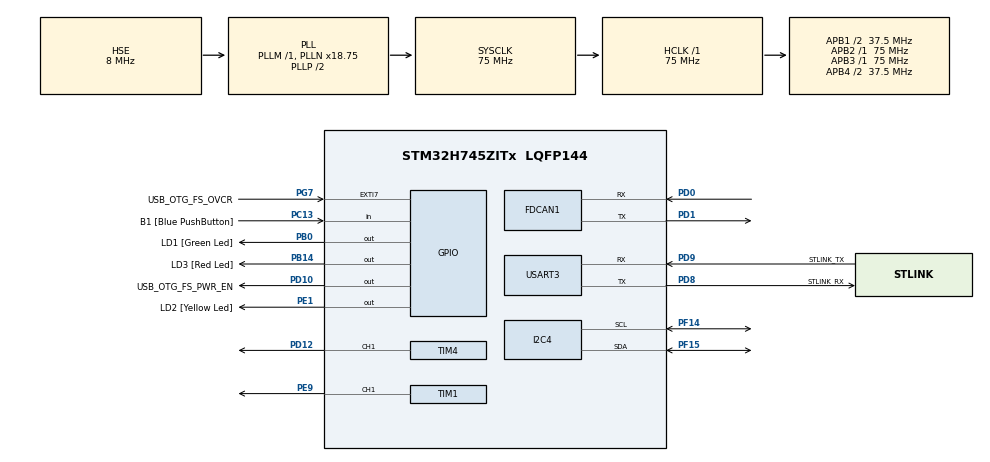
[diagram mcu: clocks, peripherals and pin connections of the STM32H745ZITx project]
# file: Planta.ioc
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CortexM4.IPs=FATFS_M4\:I,FREERTOS_M4\:I,IWDG2\:I,RCC,WWDG2\:I,DMA,BDMA,MDMA,NVIC2\:I,DEBUG,USB_DEVICE_M4\:I,USB_HOST_M4\:I,PDM2PCM_M4\:I,PWR,RESMGR_UTILITY,SYS_M4\:I,CORTEX_M4\:I,OPENAMP_M4\:I,VREFBUF,GPIO
CortexM7.IPs=FATFS_M7\:I,FREERTOS_M7\:I,IWDG1\:I,RCC\:I,WWDG1\:I,DMA\:I,BDMA\:I,MDMA\:I,NVIC1\:I,SYS\:I,USART3\:I,CORTEX_M7\:I,DEBUG\:I,USB_DEVICE_M7\:I,USB_HOST_M7\:I,PDM2PCM_M7\:I,PWR\:I,RESMGR_UTILITY\:I,OPENAMP_M7\:I,VREFBUF\:I,GPIO\:I,I2C4\:I,TIM2\:I,TIM5\:I,TIM1\:I,TIM3\:I,FDCAN1\:I,TIM4\:I
CortexM7.Pins=PC13,PB0,PB14
FDCAN1.AutoRetransmission=ENABLE
FDCAN1.CalculateBaudRateNominal=250000
FDCAN1.CalculateTimeBitNominal=4000
FDCAN1.CalculateTimeQuantumNominal=100.0
FDCAN1.NominalPrescaler=5
FDCAN1.NominalSyncJumpWidth=8
FDCAN1.NominalTimeSeg1=0x1F
FDCAN1.NominalTimeSeg2=8
FDCAN1.ProtocolException=ENABLE
FDCAN1.RxFifo0ElmtsNbr=1
FDCAN1.StdFiltersNbr=1
FDCAN1.TransmitPause=ENABLE
FDCAN1.TxFifoQueueElmtsNbr=1
I2C4.AddressingMode=I2C_ADDRESSINGMODE_7BIT
I2C4.Timing=0x00909FCE
Mcu.Family=STM32H7
Mcu.Name=STM32H745ZITx
Mcu.Package=LQFP144
NVIC1.FDCAN1_IT0_IRQn=true\:0\:0\:false\:false\:true\:true\:true\:true
NVIC1.PriorityGroup=NVIC_PRIORITYGROUP_4
NVIC1.TIM2_IRQn=true\:0\:0\:false\:false\:true\:true\:true\:true
NVIC1.TIM3_IRQn=true\:0\:0\:false\:false\:true\:true\:true\:true
NVIC2.HSEM2_IRQn=true\:0\:0\:false\:false\:true\:true\:true\:true
NVIC2.PriorityGroup=NVIC_PRIORITYGROUP_4
PA1.PinAttribute=CortexM7
PA1.Signal=ETH_REF_CLK
PA11.PinAttribute=CortexM7
PA11.Signal=USB_OTG_FS_DM
PA12.PinAttribute=CortexM7
PA12.Signal=USB_OTG_FS_DP
PA2.PinAttribute=CortexM7
PA2.Signal=ETH_MDIO
PA7.PinAttribute=CortexM7
PA7.Signal=ETH_CRS_DV
PA8.PinAttribute=CortexM7
PA8.Signal=USB_OTG_FS_SOF
PA9.PinAttribute=CortexM7
PA9.Signal=USB_OTG_FS_VBUS
PB0.GPIO_Label=LD1 [Green Led]
PB0.GPIO_PuPd=GPIO_PULLDOWN
PB0.GPIO_Speed=GPIO_SPEED_FREQ_HIGH
PB0.PinAttribute=CortexM7
PB0.Signal=GPIO_Output
PB13.PinAttribute=CortexM7
PB13.Signal=ETH_TXD1
PB14.GPIO_Label=LD3 [Red Led]
PB14.GPIO_PuPd=GPIO_PULLDOWN
PB14.GPIO_Speed=GPIO_SPEED_FREQ_HIGH
PB14.PinAttribute=CortexM7
PB14.Signal=GPIO_Output
PC1.PinAttribute=CortexM7
PC1.Signal=ETH_MDC
PC13.GPIO_Label=B1 [Blue PushButton]
PC13.GPIO_PuPd=GPIO_PULLDOWN
PC13.PinAttribute=CortexM7
PC13.Signal=GPIO_Input
PC14-OSC32_IN\ (OSC32_IN).Mode=LSE-External-Oscillator
PC14-OSC32_IN\ (OSC32_IN).PinAttribute=CortexM7
PC14-OSC32_IN\ (OSC32_IN).Signal=RCC_OSC32_IN
PC15-OSC32_OUT\ (OSC32_OUT).Mode=LSE-External-Oscillator
PC15-OSC32_OUT\ (OSC32_OUT).PinAttribute=CortexM7
PC15-OSC32_OUT\ (OSC32_OUT).Signal=RCC_OSC32_OUT
PC4.PinAttribute=CortexM7
PC4.Signal=ETH_RXD0
PC5.PinAttribute=CortexM7
PC5.Signal=ETH_RXD1
PD0.Mode=FDCAN_Activate
PD0.PinAttribute=CortexM7
PD0.Signal=FDCAN1_RX
PD1.Mode=FDCAN_Activate
PD1.PinAttribute=CortexM7
PD1.Signal=FDCAN1_TX
PD10.GPIO_Label=USB_OTG_FS_PWR_EN
PD10.PinAttribute=Free
PD10.Signal=GPIO_Output
PD12.PinAttribute=CortexM7
PD12.Signal=S_TIM4_CH1
PD8.GPIO_Label=STLINK_RX
PD8.Mode=Asynchronous
PD8.PinAttribute=CortexM7
PD8.Signal=USART3_TX
PD9.GPIO_Label=STLINK_TX
PD9.Mode=Asynchronous
PD9.PinAttribute=CortexM7
PD9.Signal=USART3_RX
PE1.GPIO_Label=LD2 [Yellow Led]
PE1.GPIO_PuPd=GPIO_PULLDOWN
PE1.GPIO_Speed=GPIO_SPEED_FREQ_HIGH
PE1.PinAttribute=Free
PE1.PinState=GPIO_PIN_SET
PE1.Signal=GPIO_Output
PE9.PinAttribute=CortexM7
PE9.Signal=S_TIM1_CH1
PF14.Mode=I2C
PF14.PinAttribute=CortexM7
PF14.Signal=I2C4_SCL
PF15.Mode=I2C
PF15.PinAttribute=CortexM7
PF15.Signal=I2C4_SDA
PG11.PinAttribute=CortexM7
PG11.Signal=ETH_TX_EN
PG13.PinAttribute=CortexM7
PG13.Signal=ETH_TXD0
PG7.GPIO_Label=USB_OTG_FS_OVCR
PG7.PinAttribute=Free
PG7.Signal=GPXTI7
PH0-OSC_IN\ (PH0).Mode=HSE-External-Clock-Source
PH0-OSC_IN\ (PH0).PinAttribute=CortexM7
PH0-OSC_IN\ (PH0).Signal=RCC_OSC_IN
PH1-OSC_OUT\ (PH1).PinAttribute=CortexM7
PH1-OSC_OUT\ (PH1).Signal=RCC_OSC_OUT
ProjectManager.HeapSize=M4-0x200,M7-0x200
ProjectManager.StackSize=M4-0x400,M7-0x400
ProjectManager.TargetToolchain=STM32CubeIDE
RCC.ADCFreq_Value=16125000
RCC.APB1Freq_Value=37500000
RCC.APB2Freq_Value=75000000
RCC.APB3Freq_Value=75000000
RCC.APB4Freq_Value=37500000
RCC.CortexFreq_Value=75000000
RCC.D2PPRE1=RCC_APB1_DIV2
RCC.D3PPRE=RCC_APB4_DIV2
RCC.DIVM1=1
RCC.DIVM3=1
RCC.DIVN1=18
RCC.DIVN3=24
RCC.DIVQ1=3
RCC.DIVQ3=4
RCC.HCLKFreq_Value=75000000
RCC.HSE_VALUE=8000000
RCC.PLL2FRACN=0
RCC.PLL3FRACN=0
RCC.PLLFRACN=6144
RCC.PLLSourceVirtual=RCC_PLLSOURCE_HSE
RCC.SYSCLKFreq_VALUE=75000000
RCC.SYSCLKSource=RCC_SYSCLKSOURCE_PLLCLK
RCC.SupplySource=PWR_DIRECT_SMPS_SUPPLY
RCC.USBCLockSelection=RCC_USBCLKSOURCE_PLL3
RCC.USBFreq_Value=48000000
SH.S_TIM1_CH1.0=TIM1_CH1,PWM Generation1 CH1
SH.S_TIM4_CH1.0=TIM4_CH1,PWM Generation1 CH1
TIM1.Channel-PWM\ Generation1\ CH1=TIM_CHANNEL_1
TIM1.Period=100
TIM1.Prescaler=240 - 1
TIM2.Period=7813 - 1
TIM2.Prescaler=240 - 1
TIM3.Period=10000 - 1
TIM3.Prescaler=240 - 1
TIM4.Channel-PWM\ Generation1\ CH1=TIM_CHANNEL_1
TIM4.Period=1000-1
TIM4.Prescaler=1500
TIM4.Pulse-PWM\ Generation1\ CH1=1
TIM5.Prescaler=230
USART3.VirtualMode-Asynchronous=VM_ASYNC
VP_SYS_M4_VS_Systick.Mode=SysTick
VP_TIM1_VS_ClockSourceINT.Mode=Internal
VP_TIM2_VS_ClockSourceINT.Mode=Internal
VP_TIM3_VS_ClockSourceINT.Mode=Internal
VP_TIM4_VS_ClockSourceINT.Mode=Internal
VP_TIM5_VS_ClockSourceINT.Mode=Internal
board=NUCLEO-H745ZI-Q

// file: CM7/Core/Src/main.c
/* USER CODE BEGIN Header */
/**
  ******************************************************************************
  * @file           : main.c
  * @brief          : Main program body
  ******************************************************************************
  * @attention
  *
  * Copyright (c) 2022 STMicroelectronics.
  * All rights reserved.
  *
  * This software is licensed under terms that can be found in the LICENSE file
  * in the root directory of this software component.
  * If no LICENSE file comes with this software, it is provided AS-IS.
  *
  ******************************************************************************
  */
/* USER CODE END Header */
#include "main.h"

/* USER CODE BEGIN Includes */
#include "fft.h"		// Librería de transformada rápida de Fourier
#include "uart.h"		// Librería de funciones de transmisión UART
#include "mpu6050.h"	// Librería de funciones para el MPU6050
#include "mprls.h"		// Librería de funciones para el MPRLS
#include <stdio.h>
#include <stdlib.h>
#include <string.h>
#include <math.h>
#include <complex.h>
/* USER CODE END Includes */

/* USER CODE BEGIN PTD */
// Dirección del MPRLS
#define MT 128			// Muestras totales (128 Hz)

#define KP 0.344
#define KI 0.0112

/* USER CODE END PTD */

/* USER CODE BEGIN PD */

#ifndef HSEM_ID_0
#define HSEM_ID_0 (0U) /* HW semaphore 0*/
#endif
/* USER CODE END PD */

FDCAN_HandleTypeDef hfdcan1;

I2C_HandleTypeDef hi2c4;

TIM_HandleTypeDef htim1;
TIM_HandleTypeDef htim2;
TIM_HandleTypeDef htim3;
TIM_HandleTypeDef htim4;
TIM_HandleTypeDef htim5;

UART_HandleTypeDef huart3;

/* USER CODE BEGIN PV */
// Variables de muestreo MPU6050
int16_t nm = 0;											// Número de muestras
float muestras_x[MT],  muestras_y[MT], muestras_z[MT];	// Arreglos de muestras
float *gyr;												// Lectura del giroscopio

// Variables de muestreo MPRLS
float pressure;
uint8_t *press_raw;

unsigned timer_val; 									// Variable de comprobación de tiempo

float ts = 0.1, control, error, errorPrev = 0;
uint32_t pk, pkPrev;
float reference = 12.0;

/* USER CODE END PV */

void SystemClock_Config(void);
static void MX_GPIO_Init(void);
static void MX_USART3_UART_Init(void);
static void MX_TIM2_Init(void);
static void MX_TIM5_Init(void);
static void MX_I2C4_Init(void);
static void MX_TIM1_Init(void);
static void MX_TIM3_Init(void);
static void MX_FDCAN1_Init(void);
static void MX_TIM4_Init(void);
/* USER CODE BEGIN PFP */
void print_Readings(void);
/* USER CODE END PFP */

/* USER CODE BEGIN 0 */
// CAN
FDCAN_RxHeaderTypeDef RxHeader;
FDCAN_TxHeaderTypeDef TxHeader1;
FDCAN_TxHeaderTypeDef TxHeader2;
int8_t TxData1[8]={11, 14, 18, 16,12, 15, 19, 17};
int8_t *pressureBuffer;
int8_t TxData2[8];
int8_t RxData[8];
FDCAN_FilterTypeDef sFilterConfig;
/* USER CODE END 0 */

int main(void)
{
/* USER CODE BEGIN Boot_Mode_Sequence_0 */
  int32_t timeout;
/* USER CODE END Boot_Mode_Sequence_0 */

/* USER CODE BEGIN Boot_Mode_Sequence_1 */
  /* Wait until CPU2 boots and enters in stop mode or timeout*/
  timeout = 0xFFFF;
  while((__HAL_RCC_GET_FLAG(RCC_FLAG_D2CKRDY) != RESET) && (timeout-- > 0));
  if ( timeout < 0 )
  {
  Error_Handler();
  }
/* USER CODE END Boot_Mode_Sequence_1 */
  /* MCU Configuration--------------------------------------------------------*/

  /* Reset of all peripherals, Initializes the Flash interface and the Systick. */
  HAL_Init();

  /* Configure the system clock */
  SystemClock_Config();
/* USER CODE BEGIN Boot_Mode_Sequence_2 */
/* When system initialization is finished, Cortex-M7 will release Cortex-M4 by means of
HSEM notification */
/*HW semaphore Clock enable*/
__HAL_RCC_HSEM_CLK_ENABLE();
/*Take HSEM */
HAL_HSEM_FastTake(HSEM_ID_0);
/*Release HSEM in order to notify the CPU2(CM4)*/
HAL_HSEM_Release(HSEM_ID_0,0);
/* wait until CPU2 wakes up from stop mode */
timeout = 0xFFFF;
while((__HAL_RCC_GET_FLAG(RCC_FLAG_D2CKRDY) == RESET) && (timeout-- > 0));
if ( timeout < 0 )
{
Error_Handler();
}
/* USER CODE END Boot_Mode_Sequence_2 */

  /* Initialize all configured peripherals */
  MX_GPIO_Init();
  MX_USART3_UART_Init();
  MX_TIM2_Init();
  MX_TIM5_Init();
  MX_I2C4_Init();
  MX_TIM1_Init();
  MX_TIM3_Init();
  MX_FDCAN1_Init();
  MX_TIM4_Init();
  /* USER CODE BEGIN 2 */

  print_int(&huart3, "PROYECTO FINAL ROBOGOD\r\n", 0);	// Prueba de comunicación UART

  MPRLS_status(&hi2c4);									// Revisión de conexión del MPRLS
  MPRLS_init(&hi2c4);									// Inicialización del MPRLS

  MPU6050_status(&hi2c4); 								// Revisión de conexión del MPU6050
  MPU6050_init(&hi2c4);									// Inicialización del MPU6050

  HAL_TIM_Base_Start(&htim5); 							// Inicialización del timer 5 (cronómetro)

  HAL_Delay(2000);										// Delay 2s

  HAL_TIM_PWM_Init(&htim1);								// Inicialización del timer 1 (PWM - Bomba)
  HAL_TIM_PWM_Start(&htim1, TIM_CHANNEL_1);				// Encendido del PWM
  TIM1->CCR1 = 0;										// Duty Cycle del 0%

  HAL_TIM_PWM_Init(&htim4);								// Inicialización del timer 4 (PWM - Servo)
  HAL_TIM_PWM_Start(&htim4, TIM_CHANNEL_1);				// Encendido del PWM
  TIM4->CCR1 = 0;

  HAL_TIM_Base_Start_IT(&htim2);						// Inicialización del timer 2 (interrupción 128 Hz)
  HAL_TIM_Base_Start_IT(&htim3);						// Inicialización del timer 3 (interrupción 100 Hz)

  /* USER CODE END 2 */

  /* Infinite loop */
  while (1)
  {

  }
}

void SystemClock_Config(void)
{
  RCC_OscInitTypeDef RCC_OscInitStruct = {0};
  RCC_ClkInitTypeDef RCC_ClkInitStruct = {0};

  /** Supply configuration update enable
  */
  HAL_PWREx_ConfigSupply(PWR_DIRECT_SMPS_SUPPLY);

  /** Configure the main internal regulator output voltage
  */
  __HAL_PWR_VOLTAGESCALING_CONFIG(PWR_REGULATOR_VOLTAGE_SCALE3);

  while(!__HAL_PWR_GET_FLAG(PWR_FLAG_VOSRDY)) {}

  /** Initializes the RCC Oscillators according to the specified parameters
  * in the RCC_OscInitTypeDef structure.
  */
  RCC_OscInitStruct.OscillatorType = RCC_OSCILLATORTYPE_HSE;
  RCC_OscInitStruct.HSEState = RCC_HSE_BYPASS;
  RCC_OscInitStruct.PLL.PLLState = RCC_PLL_ON;
  RCC_OscInitStruct.PLL.PLLSource = RCC_PLLSOURCE_HSE;
  RCC_OscInitStruct.PLL.PLLM = 1;
  RCC_OscInitStruct.PLL.PLLN = 18;
  RCC_OscInitStruct.PLL.PLLP = 2;
  RCC_OscInitStruct.PLL.PLLQ = 3;
  RCC_OscInitStruct.PLL.PLLR = 2;
  RCC_OscInitStruct.PLL.PLLRGE = RCC_PLL1VCIRANGE_3;
  RCC_OscInitStruct.PLL.PLLVCOSEL = RCC_PLL1VCOMEDIUM;
  RCC_OscInitStruct.PLL.PLLFRACN = 6144;
  if (HAL_RCC_OscConfig(&RCC_OscInitStruct) != HAL_OK)
  {
    Error_Handler();
  }

  /** Initializes the CPU, AHB and APB buses clocks
  */
  RCC_ClkInitStruct.ClockType = RCC_CLOCKTYPE_HCLK|RCC_CLOCKTYPE_SYSCLK
                              |RCC_CLOCKTYPE_PCLK1|RCC_CLOCKTYPE_PCLK2
                              |RCC_CLOCKTYPE_D3PCLK1|RCC_CLOCKTYPE_D1PCLK1;
  RCC_ClkInitStruct.SYSCLKSource = RCC_SYSCLKSOURCE_PLLCLK;
  RCC_ClkInitStruct.SYSCLKDivider = RCC_SYSCLK_DIV1;
  RCC_ClkInitStruct.AHBCLKDivider = RCC_HCLK_DIV1;
  RCC_ClkInitStruct.APB3CLKDivider = RCC_APB3_DIV1;
  RCC_ClkInitStruct.APB1CLKDivider = RCC_APB1_DIV2;
  RCC_ClkInitStruct.APB2CLKDivider = RCC_APB2_DIV1;
  RCC_ClkInitStruct.APB4CLKDivider = RCC_APB4_DIV2;

  if (HAL_RCC_ClockConfig(&RCC_ClkInitStruct, FLASH_LATENCY_1) != HAL_OK)
  {
    Error_Handler();
  }
}

static void MX_FDCAN1_Init(void)
{

  hfdcan1.Instance = FDCAN1;
  hfdcan1.Init.FrameFormat = FDCAN_FRAME_CLASSIC;
  hfdcan1.Init.Mode = FDCAN_MODE_NORMAL;
  hfdcan1.Init.AutoRetransmission = ENABLE;
  hfdcan1.Init.TransmitPause = ENABLE;
  hfdcan1.Init.ProtocolException = ENABLE;
  hfdcan1.Init.NominalPrescaler = 5;
  hfdcan1.Init.NominalSyncJumpWidth = 8;
  hfdcan1.Init.NominalTimeSeg1 = 0x1F;
  hfdcan1.Init.NominalTimeSeg2 = 8;
  hfdcan1.Init.DataPrescaler = 1;
  hfdcan1.Init.DataSyncJumpWidth = 1;
  hfdcan1.Init.DataTimeSeg1 = 1;
  hfdcan1.Init.DataTimeSeg2 = 1;
  hfdcan1.Init.MessageRAMOffset = 0;
  hfdcan1.Init.StdFiltersNbr = 1;
  hfdcan1.Init.ExtFiltersNbr = 0;
  hfdcan1.Init.RxFifo0ElmtsNbr = 1;
  hfdcan1.Init.RxFifo0ElmtSize = FDCAN_DATA_BYTES_8;
  hfdcan1.Init.RxFifo1ElmtsNbr = 0;
  hfdcan1.Init.RxFifo1ElmtSize = FDCAN_DATA_BYTES_8;
  hfdcan1.Init.RxBuffersNbr = 0;
  hfdcan1.Init.RxBufferSize = FDCAN_DATA_BYTES_8;
  hfdcan1.Init.TxEventsNbr = 0;
  hfdcan1.Init.TxBuffersNbr = 0;
  hfdcan1.Init.TxFifoQueueElmtsNbr = 1;
  hfdcan1.Init.TxFifoQueueMode = FDCAN_TX_FIFO_OPERATION;
  hfdcan1.Init.TxElmtSize = FDCAN_DATA_BYTES_8;
  if (HAL_FDCAN_Init(&hfdcan1) != HAL_OK)
  {
    Error_Handler();
  }
  /* USER CODE BEGIN FDCAN1_Init 2 */
	sFilterConfig.IdType = FDCAN_STANDARD_ID;
	sFilterConfig.FilterIndex = 0;
	sFilterConfig.FilterIndex = 0;
	sFilterConfig.FilterType  = FDCAN_FILTER_MASK;
	sFilterConfig.FilterConfig = FDCAN_FILTER_TO_RXFIFO0;
	sFilterConfig.FilterID1 = 0x321;
	sFilterConfig.FilterID2 = 0x7FF;
	if (HAL_FDCAN_ConfigFilter(&hfdcan1, &sFilterConfig) != HAL_OK)
	{
		/* Filter configuration Error */
		Error_Handler();
	}

	if(HAL_FDCAN_Start(&hfdcan1)!= HAL_OK)
	{

	}

	if (HAL_FDCAN_ActivateNotification(&hfdcan1, FDCAN_IT_RX_FIFO0_NEW_MESSAGE, 0) != HAL_OK)
	{

	}

	// Configure TX Header for FDCAN1
	TxHeader1.Identifier = 0x1BC;
	//0 and 0x7FF, if IdType is FDCAN_STANDARD_ID
	TxHeader1.IdType = FDCAN_STANDARD_ID;
	//Data frame = FDCAN_DATA_FRAME
	TxHeader1.TxFrameType = FDCAN_DATA_FRAME;
	//8 bytes data field = FDCAN_DLC_BYTES_8
	TxHeader1.DataLength = FDCAN_DLC_BYTES_8;
	//Transmitting node is error active = FDCAN_ESI_ACTIVE
	TxHeader1.ErrorStateIndicator = FDCAN_ESI_ACTIVE;
	//FDCAN frames transmitted/received without bit rate switching = FDCAN_BRS_OFF
	TxHeader1.BitRateSwitch = FDCAN_BRS_OFF;
	//Frame transmitted/received in Classic CAN format = FDCAN_FRAME_CLASSIC
	TxHeader1.FDFormat = FDCAN_CLASSIC_CAN;
	TxHeader1.TxEventFifoControl = FDCAN_NO_TX_EVENTS;
	TxHeader1.MessageMarker = 0;

	// Configure TX Header for FDCAN1
	TxHeader2.Identifier = 0x1B2;
	//0 and 0x7FF, if IdType is FDCAN_STANDARD_ID
	TxHeader2.IdType = FDCAN_STANDARD_ID;
	//Data frame = FDCAN_DATA_FRAME
	TxHeader2.TxFrameType = FDCAN_DATA_FRAME;
	//8 bytes data field = FDCAN_DLC_BYTES_8
	TxHeader2.DataLength = FDCAN_DLC_BYTES_8;
	//Transmitting node is error active = FDCAN_ESI_ACTIVE
	TxHeader2.ErrorStateIndicator = FDCAN_ESI_ACTIVE;
	//FDCAN frames transmitted/received without bit rate switching = FDCAN_BRS_OFF
	TxHeader2.BitRateSwitch = FDCAN_BRS_OFF;
	//Frame transmitted/received in Classic CAN format = FDCAN_FRAME_CLASSIC
	TxHeader2.FDFormat = FDCAN_CLASSIC_CAN;
	TxHeader2.TxEventFifoControl = FDCAN_NO_TX_EVENTS;
	TxHeader2.MessageMarker = 0;

  /* USER CODE END FDCAN1_Init 2 */

}

static void MX_I2C4_Init(void)
{

  hi2c4.Instance = I2C4;
  hi2c4.Init.Timing = 0x00909FCE;
  hi2c4.Init.OwnAddress1 = 0;
  hi2c4.Init.AddressingMode = I2C_ADDRESSINGMODE_7BIT;
  hi2c4.Init.DualAddressMode = I2C_DUALADDRESS_DISABLE;
  hi2c4.Init.OwnAddress2 = 0;
  hi2c4.Init.OwnAddress2Masks = I2C_OA2_NOMASK;
  hi2c4.Init.GeneralCallMode = I2C_GENERALCALL_DISABLE;
  hi2c4.Init.NoStretchMode = I2C_NOSTRETCH_DISABLE;
  if (HAL_I2C_Init(&hi2c4) != HAL_OK)
  {
    Error_Handler();
  }

  /** Configure Analogue filter
  */
  if (HAL_I2CEx_ConfigAnalogFilter(&hi2c4, I2C_ANALOGFILTER_ENABLE) != HAL_OK)
  {
    Error_Handler();
  }

  /** Configure Digital filter
  */
  if (HAL_I2CEx_ConfigDigitalFilter(&hi2c4, 0) != HAL_OK)
  {
    Error_Handler();
  }

}

static void MX_TIM1_Init(void)
{

  TIM_ClockConfigTypeDef sClockSourceConfig = {0};
  TIM_MasterConfigTypeDef sMasterConfig = {0};
  TIM_OC_InitTypeDef sConfigOC = {0};
  TIM_BreakDeadTimeConfigTypeDef sBreakDeadTimeConfig = {0};

  htim1.Instance = TIM1;
  htim1.Init.Prescaler = 240 - 1;
  htim1.Init.CounterMode = TIM_COUNTERMODE_UP;
  htim1.Init.Period = 100;
  htim1.Init.ClockDivision = TIM_CLOCKDIVISION_DIV1;
  htim1.Init.RepetitionCounter = 0;
  htim1.Init.AutoReloadPreload = TIM_AUTORELOAD_PRELOAD_DISABLE;
  if (HAL_TIM_Base_Init(&htim1) != HAL_OK)
  {
    Error_Handler();
  }
  sClockSourceConfig.ClockSource = TIM_CLOCKSOURCE_INTERNAL;
  if (HAL_TIM_ConfigClockSource(&htim1, &sClockSourceConfig) != HAL_OK)
  {
    Error_Handler();
  }
  if (HAL_TIM_PWM_Init(&htim1) != HAL_OK)
  {
    Error_Handler();
  }
  sMasterConfig.MasterOutputTrigger = TIM_TRGO_RESET;
  sMasterConfig.MasterOutputTrigger2 = TIM_TRGO2_RESET;
  sMasterConfig.MasterSlaveMode = TIM_MASTERSLAVEMODE_DISABLE;
  if (HAL_TIMEx_MasterConfigSynchronization(&htim1, &sMasterConfig) != HAL_OK)
  {
    Error_Handler();
  }
  sConfigOC.OCMode = TIM_OCMODE_PWM1;
  sConfigOC.Pulse = 0;
  sConfigOC.OCPolarity = TIM_OCPOLARITY_HIGH;
  sConfigOC.OCNPolarity = TIM_OCNPOLARITY_HIGH;
  sConfigOC.OCFastMode = TIM_OCFAST_DISABLE;
  sConfigOC.OCIdleState = TIM_OCIDLESTATE_RESET;
  sConfigOC.OCNIdleState = TIM_OCNIDLESTATE_RESET;
  if (HAL_TIM_PWM_ConfigChannel(&htim1, &sConfigOC, TIM_CHANNEL_1) != HAL_OK)
  {
    Error_Handler();
  }
  sBreakDeadTimeConfig.OffStateRunMode = TIM_OSSR_DISABLE;
  sBreakDeadTimeConfig.OffStateIDLEMode = TIM_OSSI_DISABLE;
  sBreakDeadTimeConfig.LockLevel = TIM_LOCKLEVEL_OFF;
  sBreakDeadTimeConfig.DeadTime = 0;
  sBreakDeadTimeConfig.BreakState = TIM_BREAK_DISABLE;
  sBreakDeadTimeConfig.BreakPolarity = TIM_BREAKPOLARITY_HIGH;
  sBreakDeadTimeConfig.BreakFilter = 0;
  sBreakDeadTimeConfig.Break2State = TIM_BREAK2_DISABLE;
  sBreakDeadTimeConfig.Break2Polarity = TIM_BREAK2POLARITY_HIGH;
  sBreakDeadTimeConfig.Break2Filter = 0;
  sBreakDeadTimeConfig.AutomaticOutput = TIM_AUTOMATICOUTPUT_DISABLE;
  if (HAL_TIMEx_ConfigBreakDeadTime(&htim1, &sBreakDeadTimeConfig) != HAL_OK)
  {
    Error_Handler();
  }
  HAL_TIM_MspPostInit(&htim1);

}

static void MX_TIM2_Init(void)
{

  TIM_ClockConfigTypeDef sClockSourceConfig = {0};
  TIM_MasterConfigTypeDef sMasterConfig = {0};

  htim2.Instance = TIM2;
  htim2.Init.Prescaler = 240 - 1;
  htim2.Init.CounterMode = TIM_COUNTERMODE_UP;
  htim2.Init.Period = 7813 - 1;
  htim2.Init.ClockDivision = TIM_CLOCKDIVISION_DIV1;
  htim2.Init.AutoReloadPreload = TIM_AUTORELOAD_PRELOAD_DISABLE;
  if (HAL_TIM_Base_Init(&htim2) != HAL_OK)
  {
    Error_Handler();
  }
  sClockSourceConfig.ClockSource = TIM_CLOCKSOURCE_INTERNAL;
  if (HAL_TIM_ConfigClockSource(&htim2, &sClockSourceConfig) != HAL_OK)
  {
    Error_Handler();
  }
  sMasterConfig.MasterOutputTrigger = TIM_TRGO_RESET;
  sMasterConfig.MasterSlaveMode = TIM_MASTERSLAVEMODE_DISABLE;
  if (HAL_TIMEx_MasterConfigSynchronization(&htim2, &sMasterConfig) != HAL_OK)
  {
    Error_Handler();
  }

}

static void MX_TIM3_Init(void)
{

  TIM_ClockConfigTypeDef sClockSourceConfig = {0};
  TIM_MasterConfigTypeDef sMasterConfig = {0};

  htim3.Instance = TIM3;
  htim3.Init.Prescaler = 240 - 1;
  htim3.Init.CounterMode = TIM_COUNTERMODE_UP;
  htim3.Init.Period = 10000 - 1;
  htim3.Init.ClockDivision = TIM_CLOCKDIVISION_DIV1;
  htim3.Init.AutoReloadPreload = TIM_AUTORELOAD_PRELOAD_DISABLE;
  if (HAL_TIM_Base_Init(&htim3) != HAL_OK)
  {
    Error_Handler();
  }
  sClockSourceConfig.ClockSource = TIM_CLOCKSOURCE_INTERNAL;
  if (HAL_TIM_ConfigClockSource(&htim3, &sClockSourceConfig) != HAL_OK)
  {
    Error_Handler();
  }
  sMasterConfig.MasterOutputTrigger = TIM_TRGO_RESET;
  sMasterConfig.MasterSlaveMode = TIM_MASTERSLAVEMODE_DISABLE;
  if (HAL_TIMEx_MasterConfigSynchronization(&htim3, &sMasterConfig) != HAL_OK)
  {
    Error_Handler();
  }

}

static void MX_TIM4_Init(void)
{

  TIM_ClockConfigTypeDef sClockSourceConfig = {0};
  TIM_MasterConfigTypeDef sMasterConfig = {0};
  TIM_OC_InitTypeDef sConfigOC = {0};

  htim4.Instance = TIM4;
  htim4.Init.Prescaler = 1500;
  htim4.Init.CounterMode = TIM_COUNTERMODE_UP;
  htim4.Init.Period = 1000-1;
  htim4.Init.ClockDivision = TIM_CLOCKDIVISION_DIV1;
  htim4.Init.AutoReloadPreload = TIM_AUTORELOAD_PRELOAD_DISABLE;
  if (HAL_TIM_Base_Init(&htim4) != HAL_OK)
  {
    Error_Handler();
  }
  sClockSourceConfig.ClockSource = TIM_CLOCKSOURCE_INTERNAL;
  if (HAL_TIM_ConfigClockSource(&htim4, &sClockSourceConfig) != HAL_OK)
  {
    Error_Handler();
  }
  if (HAL_TIM_PWM_Init(&htim4) != HAL_OK)
  {
    Error_Handler();
  }
  sMasterConfig.MasterOutputTrigger = TIM_TRGO_RESET;
  sMasterConfig.MasterSlaveMode = TIM_MASTERSLAVEMODE_DISABLE;
  if (HAL_TIMEx_MasterConfigSynchronization(&htim4, &sMasterConfig) != HAL_OK)
  {
    Error_Handler();
  }
  sConfigOC.OCMode = TIM_OCMODE_PWM1;
  sConfigOC.Pulse = 1;
  sConfigOC.OCPolarity = TIM_OCPOLARITY_HIGH;
  sConfigOC.OCFastMode = TIM_OCFAST_DISABLE;
  if (HAL_TIM_PWM_ConfigChannel(&htim4, &sConfigOC, TIM_CHANNEL_1) != HAL_OK)
  {
    Error_Handler();
  }
  HAL_TIM_MspPostInit(&htim4);

}

static void MX_TIM5_Init(void)
{

  TIM_ClockConfigTypeDef sClockSourceConfig = {0};
  TIM_MasterConfigTypeDef sMasterConfig = {0};

  htim5.Instance = TIM5;
  htim5.Init.Prescaler = 230;
  htim5.Init.CounterMode = TIM_COUNTERMODE_UP;
  htim5.Init.Period = 4294967295;
  htim5.Init.ClockDivision = TIM_CLOCKDIVISION_DIV1;
  htim5.Init.AutoReloadPreload = TIM_AUTORELOAD_PRELOAD_DISABLE;
  if (HAL_TIM_Base_Init(&htim5) != HAL_OK)
  {
    Error_Handler();
  }
  sClockSourceConfig.ClockSource = TIM_CLOCKSOURCE_INTERNAL;
  if (HAL_TIM_ConfigClockSource(&htim5, &sClockSourceConfig) != HAL_OK)
  {
    Error_Handler();
  }
  sMasterConfig.MasterOutputTrigger = TIM_TRGO_RESET;
  sMasterConfig.MasterSlaveMode = TIM_MASTERSLAVEMODE_DISABLE;
  if (HAL_TIMEx_MasterConfigSynchronization(&htim5, &sMasterConfig) != HAL_OK)
  {
    Error_Handler();
  }

}

static void MX_USART3_UART_Init(void)
{

  huart3.Instance = USART3;
  huart3.Init.BaudRate = 115200;
  huart3.Init.WordLength = UART_WORDLENGTH_8B;
  huart3.Init.StopBits = UART_STOPBITS_1;
  huart3.Init.Parity = UART_PARITY_NONE;
  huart3.Init.Mode = UART_MODE_TX_RX;
  huart3.Init.HwFlowCtl = UART_HWCONTROL_NONE;
  huart3.Init.OverSampling = UART_OVERSAMPLING_16;
  huart3.Init.OneBitSampling = UART_ONE_BIT_SAMPLE_DISABLE;
  huart3.Init.ClockPrescaler = UART_PRESCALER_DIV1;
  huart3.AdvancedInit.AdvFeatureInit = UART_ADVFEATURE_NO_INIT;
  if (HAL_UART_Init(&huart3) != HAL_OK)
  {
    Error_Handler();
  }
  if (HAL_UARTEx_SetTxFifoThreshold(&huart3, UART_TXFIFO_THRESHOLD_1_8) != HAL_OK)
  {
    Error_Handler();
  }
  if (HAL_UARTEx_SetRxFifoThreshold(&huart3, UART_RXFIFO_THRESHOLD_1_8) != HAL_OK)
  {
    Error_Handler();
  }
  if (HAL_UARTEx_DisableFifoMode(&huart3) != HAL_OK)
  {
    Error_Handler();
  }

}

static void MX_GPIO_Init(void)
{
  GPIO_InitTypeDef GPIO_InitStruct = {0};

  /* GPIO Ports Clock Enable */
  __HAL_RCC_GPIOC_CLK_ENABLE();
  __HAL_RCC_GPIOH_CLK_ENABLE();
  __HAL_RCC_GPIOB_CLK_ENABLE();
  __HAL_RCC_GPIOF_CLK_ENABLE();
  __HAL_RCC_GPIOE_CLK_ENABLE();
  __HAL_RCC_GPIOD_CLK_ENABLE();

  /*Configure GPIO pin Output Level */
  HAL_GPIO_WritePin(GPIOB, LD1_Pin|LD3_Pin, GPIO_PIN_RESET);

  /*Configure GPIO pin : B1_Pin */
  GPIO_InitStruct.Pin = B1_Pin;
  GPIO_InitStruct.Mode = GPIO_MODE_INPUT;
  GPIO_InitStruct.Pull = GPIO_PULLDOWN;
  HAL_GPIO_Init(B1_GPIO_Port, &GPIO_InitStruct);

  /*Configure GPIO pins : LD1_Pin LD3_Pin */
  GPIO_InitStruct.Pin = LD1_Pin|LD3_Pin;
  GPIO_InitStruct.Mode = GPIO_MODE_OUTPUT_PP;
  GPIO_InitStruct.Pull = GPIO_PULLDOWN;
  GPIO_InitStruct.Speed = GPIO_SPEED_FREQ_HIGH;
  HAL_GPIO_Init(GPIOB, &GPIO_InitStruct);

}

/* USER CODE BEGIN 4 */
// CAN
void HAL_FDCAN_RxFifo0Callback(FDCAN_HandleTypeDef *hfdcan, uint32_t RxFifo0ITs){
	if (HAL_FDCAN_GetRxMessage(&hfdcan1, FDCAN_RX_FIFO0, &RxHeader, RxData) == HAL_OK){
		if(RxHeader.Identifier == 0x43){
			if (HAL_FDCAN_AddMessageToTxFifoQ(&hfdcan1, &TxHeader1, TxData1) != HAL_OK){
			}
			/*
			print_int(&huart3, "Id. 0x43\r\n", 0);
			uint8_t vBuffer[4];
			vBuffer[0] = RxData[1];
			vBuffer[1] = RxData[2];
			vBuffer[2] = RxData[3];
			vBuffer[3] = RxData[4];

			reference = *(float *)&vBuffer;
			print_float(&huart3, "Ref: %.2f\r\n", reference);
			*/

		} else if (RxHeader.Identifier == 0x11){
			if (HAL_FDCAN_AddMessageToTxFifoQ(&hfdcan1, &TxHeader2, TxData2) != HAL_OK){
			}
			print_int(&huart3, "Id. 0x11\r\n", 0);
		}
	}
}

// Interrupción por timer (TIM2) a 128 Hz
void HAL_TIM_PeriodElapsedCallback(TIM_HandleTypeDef *htim){
	if (htim == &htim2){
		//print_int(&huart3, "Muestra: %u\r\n", nm);

		//if(nm == 0) timer_val = __HAL_TIM_GET_COUNTER(&htim5);
		/* Si el número de muestras es cero,
																 * se guarda el tiempo transcurrido
																 * para contar el tiempo de muestreo
																 * total.
		 	 	 	 	 	 	 	 	 	 	 	 	 	 	 */
		//HAL_GPIO_TogglePin(GPIOB, GPIO_PIN_14);					// Toggle del LED ROJO cada muestra
		//gyr = MPU6050_read_gyro(&hi2c4);						// Lectura del giroscopio del MPU6050

		// Guardado de muestras en los arreglos
		//muestras_x[nm] = gyr[0];
		//muestras_y[nm] = gyr[1];
		//muestras_z[nm] = gyr[2];

		nm++;													// Incremento del contador de muestras
	}
	if (htim == &htim3){
		//press_raw = MPRLS_data(&hi2c4);
		//send_data(&huart3, press_raw, 4);

		pressureBuffer = (uint8_t*)(&pressure);
		TxData2[1] = pressureBuffer[0];
		TxData2[2] = pressureBuffer[1];
		TxData2[3] = pressureBuffer[2];
		TxData2[4] = pressureBuffer[3];

		pkPrev = TIM1->CCR1;
		error = reference - pressure;
		control = KP*error + KI*ts*(error + errorPrev);// + (kd/ts)*(error - errorPrev);
		pk = pkPrev + control*40;
		errorPrev = error;

		if (pk >= 100){
			TIM1->CCR1 = 100;
		}else if (pk <= 0){
			TIM1->CCR1 = 0;
		}else{
			TIM1->CCR1 = pk;
		}

		pressure = MPRLS_read(&hi2c4);

		//print_float(&huart3, "Presión: %.5f\r\n", pressure);
	}
}

void print_Readings(void){
	//print_float(&huart3, "Presión: %.5f\r\n", pressure);
	/*print_float(&huart3, "Gyr X: %.5f\r\n", gyr[0]);
	print_float(&huart3, "Gyr y: %.5f\r\n", gyr[1]);
	print_float(&huart3, "Gyr z: %.5f\r\n", gyr[2]);*/
}
/* USER CODE END 4 */

void Error_Handler(void)
{
  __disable_irq();
  while (1)
  {
  }
}
